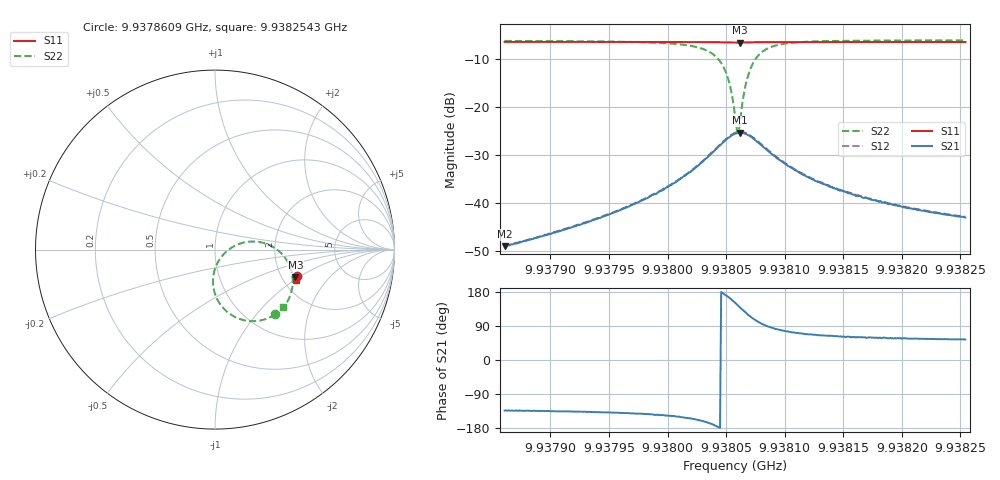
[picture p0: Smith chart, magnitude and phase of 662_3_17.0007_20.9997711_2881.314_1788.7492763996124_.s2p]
#  HZ  S  RI  R  50.00
! Rohde & Schwarz Vector Network Analyzer
! Rohde-Schwarz,ZNB20-2Port,1311601062101988,3.16
! Created: UTC 3/20/2024, 11:21:49 PM
! freq[Hz]  re:S11  im:S11  re:S21  im:S21  re:S12  im:S12  re:S22  im:S22
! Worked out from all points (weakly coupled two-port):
!   401 points, 9.9378609 GHz to 9.9382543 GHz, reference 50 ohm
!   highest |S21| = -25.28 dB at 9.9380615 GHz (marker M1); lowest = -48.9 dB at 9.9378609 GHz (marker M2)
!   lowest |S11| = -6.5 dB at 9.9380615 GHz (marker M3), VSWR 2.80, Z = 118 - j47 ohm
!   |S11| at or under -10 dB: nowhere
!   |S22| runs from -25.3 to -6.1 dB; largest |S21 - S12| = 0.0016
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9.9378609e9  0.4589 -0.1449  -0.00246 -0.0026  -0.00249 -0.00262  0.3367 -0.3598
9.9379268e9  0.457 -0.1497  -0.00443 -0.0042  -0.00454 -0.00419  0.3152 -0.3729
9.93796516e9  0.4557 -0.1523  -0.00695 -0.0058  -0.00718 -0.00581  0.2906 -0.3841
9.9379927e9  0.4545 -0.1545  -0.0108 -0.00764  -0.0109 -0.00756  0.2565 -0.3941
9.93802417e9  0.4524 -0.157  -0.0218 -0.00922  -0.0221 -0.00918  0.1645 -0.394
9.93804089e9  0.4502 -0.1579  -0.0359 -0.00436  -0.0366 -0.004  0.0566 -0.3367
9.9380468e9  0.4493 -0.1575  -0.0425 0.00209  -0.0433 0.00243  0.0123 -0.2767
9.93805073e9  0.4484 -0.1571  -0.046 0.00895  -0.0469 0.00948  -0.00745 -0.2166
9.93805466e9  0.448 -0.1563  -0.0477 0.0179  -0.0484 0.0189  -0.00822 -0.1416
9.93805762e9  0.4478 -0.1555  -0.0467 0.0257  -0.0473 0.0267  0.0103 -0.0812
9.93805958e9  0.4479 -0.155  -0.0443 0.0306  -0.0451 0.0317  0.0334 -0.0433
9.93806155e9  0.448 -0.1545  -0.0415 0.0352  -0.0421 0.0364  0.0641 -0.0102
9.93806548e9  0.4488 -0.1539  -0.0332 0.042  -0.0335 0.0435  0.1411 0.034
9.93806843e9  0.4496 -0.1534  -0.0262 0.0446  -0.026 0.0461  0.203 0.0451
9.93807237e9  0.4505 -0.1536  -0.0171 0.0451  -0.0166 0.0465  0.277 0.0351
9.93807729e9  0.4515 -0.1539  -0.00802 0.0422  -0.00748 0.0436  0.3452 0.000279
9.93808417e9  0.4524 -0.1548  -0.000298 0.0366  0.00041 0.0373  0.3991 -0.0585
9.93809302e9  0.4527 -0.1562  0.00432 0.0294  0.00496 0.03  0.4265 -0.1226
9.93812351e9  0.4525 -0.1595  0.00686 0.0165  0.00734 0.0165  0.426 -0.2334
9.93815892e9  0.4518 -0.1625  0.00607 0.0107  0.00636 0.0107  0.4084 -0.2794
9.93818941e9  0.4507 -0.1647  0.0054 0.00836  0.00557 0.00828  0.397 -0.2986
9.93825433e9  0.449 -0.1691  0.00418 0.00577  0.00435 0.0058  0.3813 -0.3201
